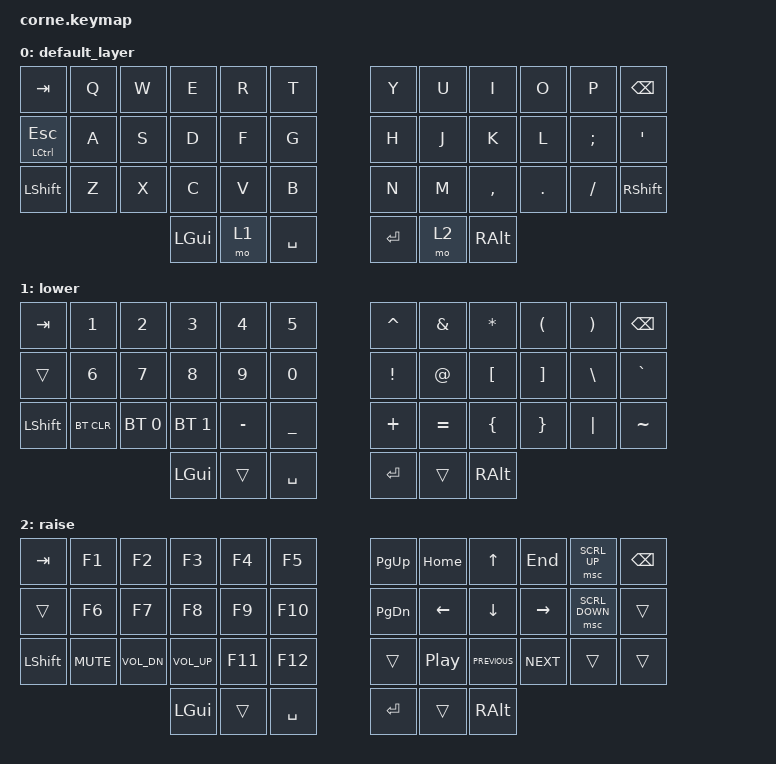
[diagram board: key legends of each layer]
/*
 * Copyright (c) 2020 The ZMK Contributors
 *
 * SPDX-License-Identifier: MIT
 */

#include <behaviors.dtsi>
#include <dt-bindings/zmk/bt.h>
#include <dt-bindings/zmk/keys.h>
#include <dt-bindings/zmk/pointing.h>

/ {
    keymap {
        compatible = "zmk,keymap";

        default_layer {
            // -----------------------------------------------------------------------------------------
            // |  TAB |  Q  |  W  |  E  |  R  |  T  |   |  Y  |  U   |  I  |  O  |  P  | BSPC |
            // | CTRL |  A  |  S  |  D  |  F  |  G  |   |  H  |  J   |  K  |  L  |  ;  |  '   |
            // | SHFT |  Z  |  X  |  C  |  V  |  B  |   |  N  |  M   |  ,  |  .  |  /  | ESC  |
            //                    | GUI | LWR | SPC |   | ENT | RSE  | ALT |

            bindings = <
&kp TAB        &kp Q  &kp W  &kp E     &kp R  &kp T        &kp Y    &kp U  &kp I          &kp O    &kp P     &kp BSPC
&mt LCTRL ESC  &kp A  &kp S  &kp D     &kp F  &kp G        &kp H    &kp J  &kp K          &kp L    &kp SEMI  &kp SQT
&kp LSHFT      &kp Z  &kp X  &kp C     &kp V  &kp B        &kp N    &kp M  &kp COMMA      &kp DOT  &kp FSLH  &kp RIGHT_SHIFT
                             &kp LGUI  &mo 1  &kp SPACE    &kp RET  &mo 2  &kp RIGHT_ALT
            >;
        };

        lower {
            // -----------------------------------------------------------------------------------------
            // |  TAB |  !  |  @  |  #  |  $  |  %  |   |  ^  |  &  |  *  |  (  |  )  | BSPC |
            // | CTRL |     |     |     |     |     |   |  -  |  =  |  [  |  ]  |  \  |  `   |
            // | SHFT |     |     |     |     |     |   |  _  |  +  |  {  |  }  | "|" |  ~   |
            //                    | GUI |     | SPC |   | ENT |     | ALT |

            bindings = <
&kp TAB    &kp N1      &kp N2        &kp N3        &kp N4     &kp N5            &kp CARET        &kp AMPS   &kp ASTERISK  &kp LEFT_PARENTHESIS  &kp RPAR  &kp BSPC
&trans     &kp N6      &kp N7        &kp N8        &kp N9     &kp N0            &kp EXCLAMATION  &kp AT     &kp LBKT      &kp RBKT              &kp BSLH  &kp GRAVE
&kp LSHFT  &bt BT_CLR  &bt BT_SEL 0  &bt BT_SEL 1  &kp MINUS  &kp UNDERSCORE    &kp PLUS         &kp EQUAL  &kp LBRC      &kp RBRC              &kp PIPE  &kp TILDE
                                     &kp LGUI      &trans     &kp SPACE         &kp RET          &trans     &kp RALT
            >;
        };

        raise {
            // -----------------------------------------------------------------------------------------
            // |  TAB |  1  |  2  |  3  |  4  |  5  |   |  6  |  7  |  8  |  9  |  0  | BSPC |
            // | BTCLR| BT1 | BT2 | BT3 | BT4 | BT5 |   | LFT | DWN |  UP | RGT |     |      |
            // | SHFT |     |     |     |     |     |   |     |     |     |     |     |      |
            //                    | GUI |     | SPC |   | ENT |     | ALT |

            bindings = <
&kp TAB    &kp F1      &kp F2        &kp F3        &kp F4   &kp F5       &kp PAGE_UP    &kp HOME          &kp UP          &kp END     &msc SCRL_UP    &kp BSPC
&trans     &kp F6      &kp F7        &kp F8        &kp F9   &kp F10      &kp PAGE_DOWN  &kp LEFT          &kp DOWN        &kp RIGHT   &msc SCRL_DOWN  &trans
&kp LSHFT  &kp C_MUTE  &kp C_VOL_DN  &kp C_VOL_UP  &kp F11  &kp F12      &trans         &kp C_PLAY_PAUSE  &kp C_PREVIOUS  &kp C_NEXT  &trans          &trans
                                     &kp LGUI      &trans   &kp SPACE    &kp RET        &trans            &kp RALT
            >;
        };
    };
};
